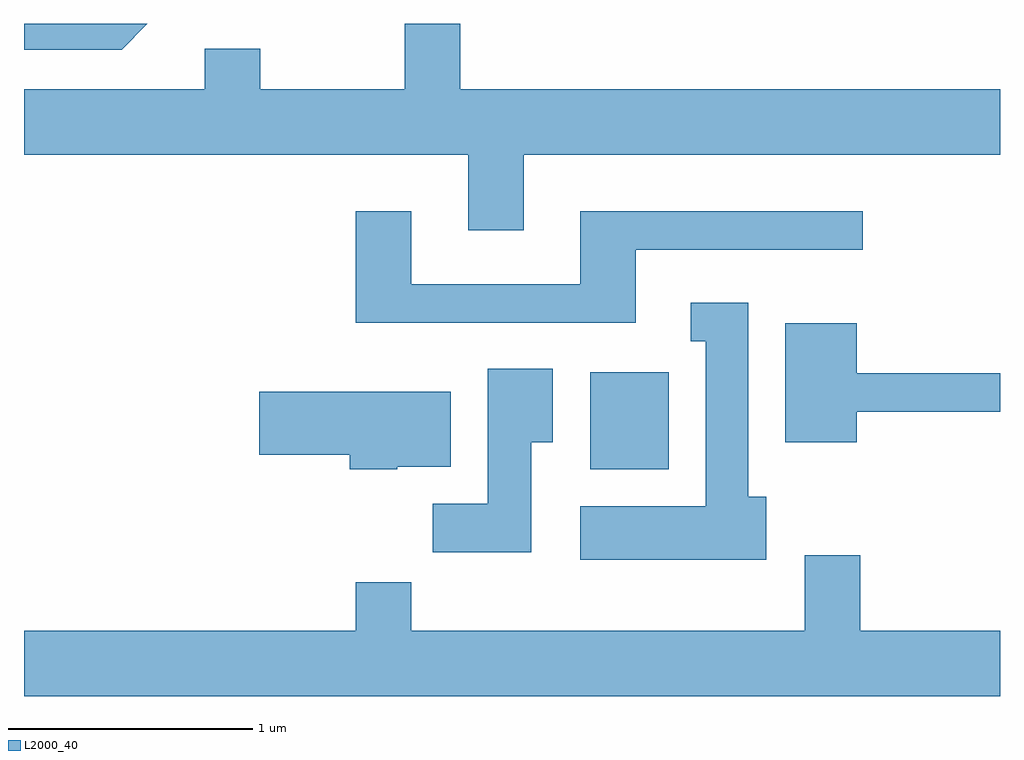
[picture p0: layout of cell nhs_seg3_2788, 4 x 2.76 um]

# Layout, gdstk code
import gdstk
lib = gdstk.Library(unit=1e-6, precision=1e-09)
def R(c, l, rs):  # rectangles x0, y0, x1, y1
    for r in rs: c.add(gdstk.rectangle(r[:2], r[2:], *l))
def P(c, l, *ps):  # polygons
    for p in ps: c.add(gdstk.Polygon(p, *l))
L2000_40 = (2000, 40)

nhs_seg3_2788 = lib.new_cell('nhs_seg3_2788')
R(nhs_seg3_2788, L2000_40, [(269.931,1118.066,270.254,1118.464)])
P(nhs_seg3_2788, L2000_40, [(269.659,1119.356),(271.611,1119.356),(271.611,1119.624),(269.399,1119.624),(269.399,1119.892),(269.171,1119.892),(269.171,1119.624),(268.579,1119.624),(268.579,1119.789),(268.351,1119.789),(268.351,1119.624),(267.611,1119.624),(267.611,1119.356),(269.431,1119.356),(269.431,1119.046),(269.659,1119.046)],
  [(268.117,1119.892),(267.611,1119.892),(267.611,1119.786),(268.012,1119.786)],
  [(270.119,1118.966),(271.048,1118.966),(271.048,1119.124),(269.891,1119.124),(269.891,1118.824),(269.199,1118.824),(269.199,1119.124),(268.971,1119.124),(268.971,1118.666),(270.119,1118.666)],
  [(270.654,1117.954),(270.579,1117.954),(270.579,1118.749),(270.343,1118.749),(270.343,1118.591),(270.406,1118.591),(270.406,1117.914),(269.891,1117.914),(269.891,1117.696),(270.654,1117.696)],
  [(271.024,1118.301),(271.611,1118.301),(271.611,1118.459),(271.024,1118.459),(271.024,1118.664),(270.731,1118.664),(270.731,1118.176),(271.024,1118.176)],
  [(269.689,1118.176),(269.779,1118.176),(269.779,1118.479),(269.511,1118.479),(269.511,1117.924),(269.286,1117.924),(269.286,1117.726),(269.689,1117.726)],
  [(269.14,1118.076),(269.359,1118.076),(269.359,1118.384),(268.576,1118.384),(268.576,1118.126),(268.946,1118.126),(268.946,1118.066),(269.14,1118.066)],
  [(271.611,1117.404),(271.039,1117.404),(271.039,1117.714),(270.811,1117.714),(270.811,1117.404),(269.199,1117.404),(269.199,1117.604),(268.971,1117.604),(268.971,1117.404),(267.611,1117.404),(267.611,1117.136),(271.611,1117.136)])

lib.write_gds('nhs_seg3_2788.gds')
